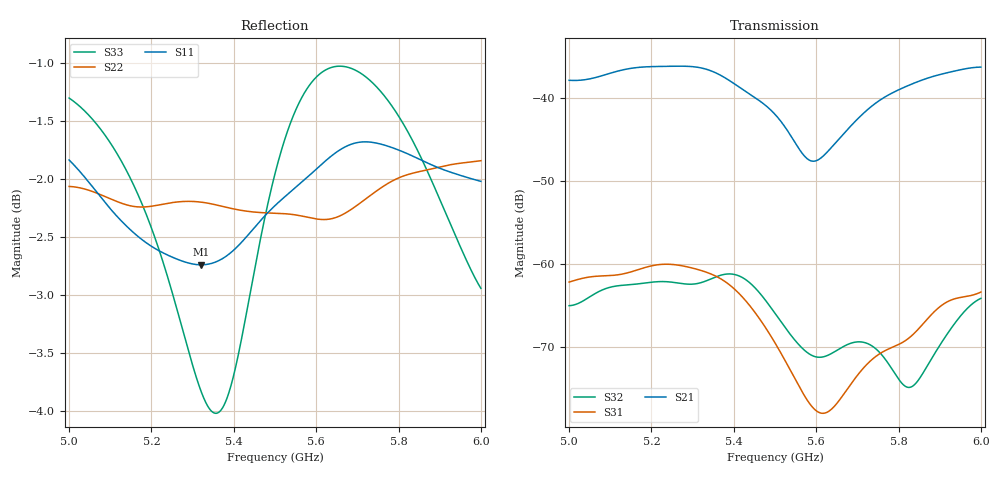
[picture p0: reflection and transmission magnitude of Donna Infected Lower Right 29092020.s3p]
! TOUCHSTONE file generated by CST MICROWAVE STUDIO
! Date and time: Tue Sep 29 13:50:47 2020
! Project name: Donna Lung Lower Right.cst
! Header version: 2018
! Port assignment regex: !\s*Touchstone port\s*([0-9]+)\s*=\s*(CST MWS port|CST DS port)\s*([0-9]+|Zmin|Zmax)\s*\(\"(.*)\"\)(\s*mode\s*([0-9]+))?.*
! Touchstone port assignment:
! Touchstone port 1 = CST MWS port 1 ("")
! Touchstone port 2 = CST MWS port 2 ("")
! Touchstone port 3 = CST MWS port 3 ("")
# GHz S RI R 50
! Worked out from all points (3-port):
!   1001 points, 5 GHz to 6 GHz, reference 50 ohm
!   strongest paths, dB at 5 GHz, 5.25 GHz, 5.5 GHz, 5.75 GHz, 6 GHz:
!     S21: -37.9, -36.2, -42.0, -40.4, -36.3
!     S31: -62.2, -60.1, -69.5, -71.0, -63.4
!     S32: -65.0, -62.2, -66.0, -70.5, -64.2
!   lowest |S11| = -2.7 dB at 5.32 GHz (marker M1), VSWR 6.40, Z = 319 + j14.7 ohm
!   |S11| at or under -10 dB: nowhere
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5  0.8077 -0.0571  0.0064 -0.011  0.000409 0.000673
   0.00644 -0.011  0.7885 -0.019  -5.3e-06 0.000556
   0.0004 0.000666  2.31e-05 0.000559  0.8596 -0.0505
5.32  0.7297 0.0108  -0.00856 0.0125  9.91e-05 0.000908
      -0.00856 0.0125  0.7766 0.00155  -0.000584 0.000509
      9.53e-05 0.000907  -0.000578 0.000509  0.6432 -0.0303
5.413  0.7429 0.0471  0.00487 0.0106  0.000616 -0.000247
       0.00488 0.0106  0.7705 0.00595  0.000701 0.000462
       0.000613 -0.000248  0.000706 0.000464  0.6605 0.1134
5.5  0.7715 0.0612  0.00757 0.00246  -0.000107 -0.000314
     0.00757 0.00247  0.7679 0.0145  0.000215 -0.000458
     -0.000108 -0.000316  0.000215 -0.000454  0.7831 0.1578
5.577  0.7931 0.0625  0.00433 3.75e-05  -0.000139 -6.62e-05
       0.00433 4.15e-05  0.7648 0.0216  -0.000138 -0.000257
       -0.000137 -6.67e-05  -0.000142 -0.000257  0.8613 0.1131
5.618  0.8055 0.0596  0.00443 0.000669  -0.000114 -4.71e-05
       0.00444 0.000667  0.7627 0.0294  -0.000209 -0.000184
       -0.000116 -4.8e-05  -0.000207 -0.000181  0.8809 0.0787
5.728  0.8237 0.0322  0.00778 -0.00372  -0.000218 0.000129
       0.00779 -0.00373  0.7792 0.0508  -0.000199 0.00026
       -0.00022 0.000128  -0.000196 0.000263  0.8771 -0.00614
5.828  0.8138 0.0136  0.00148 -0.0119  0.000138 0.000339
       0.00149 -0.0119  0.7972 0.0482  7.7e-05 0.000154
       0.000135 0.000336  7.94e-05 0.000162  0.8277 -0.0529
5.911  0.8017 0.0112  -0.00972 -0.0102  0.000562 -0.0001
       -0.0097 -0.0102  0.8037 0.0451  0.000345 0.00012
       0.000566 -0.000108  0.000331 0.000127  0.7688 -0.0557
6  0.7926 0.0158  -0.015 0.00306  -0.000193 -0.000648
   -0.015 0.0031  0.808 0.0435  0.000161 -0.00059
   -0.000174 -0.000653  0.000131 -0.000605  0.7128 -0.0121
